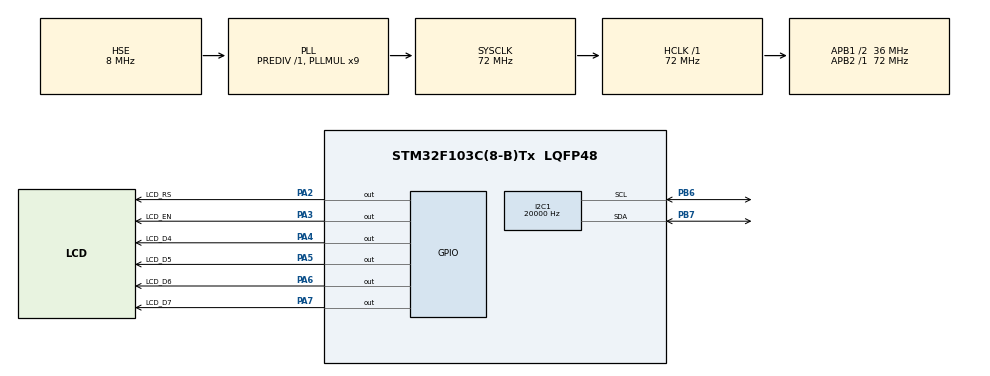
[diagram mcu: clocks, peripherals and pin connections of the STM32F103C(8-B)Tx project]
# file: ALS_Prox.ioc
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I2C1.ClockSpeed=20000
Mcu.Family=STM32F1
Mcu.Name=STM32F103C(8-B)Tx
Mcu.Package=LQFP48
NVIC.PriorityGroup=NVIC_PRIORITYGROUP_4
PA2.GPIO_Label=LCD_RS
PA2.Signal=GPIO_Output
PA3.GPIO_Label=LCD_EN
PA3.Signal=GPIO_Output
PA4.GPIO_Label=LCD_D4
PA4.Signal=GPIO_Output
PA5.GPIO_Label=LCD_D5
PA5.Signal=GPIO_Output
PA6.GPIO_Label=LCD_D6
PA6.Signal=GPIO_Output
PA7.GPIO_Label=LCD_D7
PA7.Signal=GPIO_Output
PB6.Mode=I2C
PB6.Signal=I2C1_SCL
PB7.Mode=I2C
PB7.Signal=I2C1_SDA
PC14-OSC32_IN.Mode=LSE-External-Oscillator
PC14-OSC32_IN.Signal=RCC_OSC32_IN
PC15-OSC32_OUT.Mode=LSE-External-Oscillator
PC15-OSC32_OUT.Signal=RCC_OSC32_OUT
PD0-OSC_IN.Mode=HSE-External-Oscillator
PD0-OSC_IN.Signal=RCC_OSC_IN
PD1-OSC_OUT.Mode=HSE-External-Oscillator
PD1-OSC_OUT.Signal=RCC_OSC_OUT
ProjectManager.HeapSize=0x200
ProjectManager.StackSize=0x400
ProjectManager.TargetToolchain=STM32CubeIDE
RCC.AHBFreq_Value=72000000
RCC.APB1CLKDivider=RCC_HCLK_DIV2
RCC.APB1Freq_Value=36000000
RCC.APB1TimFreq_Value=72000000
RCC.APB2Freq_Value=72000000
RCC.APB2TimFreq_Value=72000000
RCC.HCLKFreq_Value=72000000
RCC.PLLMUL=RCC_PLL_MUL9
RCC.PLLSourceVirtual=RCC_PLLSOURCE_HSE
RCC.SYSCLKFreq_VALUE=72000000
RCC.SYSCLKSource=RCC_SYSCLKSOURCE_PLLCLK
RCC.USBFreq_Value=72000000
VP_SYS_VS_ND.Mode=No_Debug
board=custom

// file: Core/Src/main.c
/* USER CODE BEGIN Header */
/**
  ******************************************************************************
  * @file           : main.c
  * @brief          : Main program body
  ******************************************************************************
  * @attention
  *
  * Copyright (c) 2022 STMicroelectronics.
  * All rights reserved.
  *
  * This software is licensed under terms that can be found in the LICENSE file
  * in the root directory of this software component.
  * If no LICENSE file comes with this software, it is provided AS-IS.
  *
  ******************************************************************************
  */
/* USER CODE END Header */
#include "main.h"
#include "LCD.h"
#include "lcd_print.h"
#include "TMD2771x.h"

I2C_HandleTypeDef hi2c1;

void SystemClock_Config(void);
static void MX_GPIO_Init(void);
static void MX_I2C1_Init(void);

int main(void)
{
  /* USER CODE BEGIN 1 */
  uint16_t val1 = 0x0000;
  uint16_t val2 = 0x0000;
  /* USER CODE END 1 */

  /* MCU Configuration--------------------------------------------------------*/

  /* Reset of all peripherals, Initializes the Flash interface and the Systick. */
  HAL_Init();

  /* Configure the system clock */
  SystemClock_Config();

  /* Initialize all configured peripherals */
  MX_GPIO_Init();
  MX_I2C1_Init();

  /* USER CODE BEGIN 2 */
  LCD_init();
  LCD_clear_home();

  LCD_goto(0, 0);
  LCD_putstr("Device ID:");

  val1 = (uint16_t)TMD2771x_init();

  LCD_goto(0, 1);

  switch(val1)
  {
		case 1:
		{
			LCD_putstr("TMD27711");
			break;
		}

		case 2:
		{
			LCD_putstr("TMD27713");
			break;
		}

		default:
		{
			LCD_putstr("Unknown Device!");
		    break;
		}
  }

  HAL_Delay(1600);

  LCD_clear_home();
  LCD_goto(0, 0);
  LCD_putstr("A.L.S/lux:");
  LCD_goto(0, 1);
  LCD_putstr("Proximity:");
  /* USER CODE END 2 */

  /* Infinite loop */
  while (1)
  {
	  TMD2771x_get_readings(&val1, &val2);

	  print_I(11, 0, val1);
	  print_I(11, 1, val2);

	  HAL_Delay(400);

  }
}

void SystemClock_Config(void)
{
  RCC_OscInitTypeDef RCC_OscInitStruct = {0};
  RCC_ClkInitTypeDef RCC_ClkInitStruct = {0};

  /** Initializes the RCC Oscillators according to the specified parameters
  * in the RCC_OscInitTypeDef structure.
  */
  RCC_OscInitStruct.OscillatorType = RCC_OSCILLATORTYPE_HSE;
  RCC_OscInitStruct.HSEState = RCC_HSE_ON;
  RCC_OscInitStruct.HSEPredivValue = RCC_HSE_PREDIV_DIV1;
  RCC_OscInitStruct.HSIState = RCC_HSI_ON;
  RCC_OscInitStruct.PLL.PLLState = RCC_PLL_ON;
  RCC_OscInitStruct.PLL.PLLSource = RCC_PLLSOURCE_HSE;
  RCC_OscInitStruct.PLL.PLLMUL = RCC_PLL_MUL9;
  if (HAL_RCC_OscConfig(&RCC_OscInitStruct) != HAL_OK)
  {
    Error_Handler();
  }
  /** Initializes the CPU, AHB and APB buses clocks
  */
  RCC_ClkInitStruct.ClockType = RCC_CLOCKTYPE_HCLK|RCC_CLOCKTYPE_SYSCLK
                              |RCC_CLOCKTYPE_PCLK1|RCC_CLOCKTYPE_PCLK2;
  RCC_ClkInitStruct.SYSCLKSource = RCC_SYSCLKSOURCE_PLLCLK;
  RCC_ClkInitStruct.AHBCLKDivider = RCC_SYSCLK_DIV1;
  RCC_ClkInitStruct.APB1CLKDivider = RCC_HCLK_DIV2;
  RCC_ClkInitStruct.APB2CLKDivider = RCC_HCLK_DIV1;

  if (HAL_RCC_ClockConfig(&RCC_ClkInitStruct, FLASH_LATENCY_2) != HAL_OK)
  {
    Error_Handler();
  }
}

static void MX_I2C1_Init(void)
{

  hi2c1.Instance = I2C1;
  hi2c1.Init.ClockSpeed = 20000;
  hi2c1.Init.DutyCycle = I2C_DUTYCYCLE_2;
  hi2c1.Init.OwnAddress1 = 0;
  hi2c1.Init.AddressingMode = I2C_ADDRESSINGMODE_7BIT;
  hi2c1.Init.DualAddressMode = I2C_DUALADDRESS_DISABLE;
  hi2c1.Init.OwnAddress2 = 0;
  hi2c1.Init.GeneralCallMode = I2C_GENERALCALL_DISABLE;
  hi2c1.Init.NoStretchMode = I2C_NOSTRETCH_DISABLE;
  if (HAL_I2C_Init(&hi2c1) != HAL_OK)
  {
    Error_Handler();
  }

}

static void MX_GPIO_Init(void)
{
  GPIO_InitTypeDef GPIO_InitStruct = {0};

  /* GPIO Ports Clock Enable */
  __HAL_RCC_GPIOC_CLK_ENABLE();
  __HAL_RCC_GPIOD_CLK_ENABLE();
  __HAL_RCC_GPIOA_CLK_ENABLE();
  __HAL_RCC_GPIOB_CLK_ENABLE();

  /*Configure GPIO pin Output Level */
  HAL_GPIO_WritePin(GPIOA, LCD_RS_Pin|LCD_EN_Pin|LCD_D4_Pin|LCD_D5_Pin
                          |LCD_D6_Pin|LCD_D7_Pin, GPIO_PIN_RESET);

  /*Configure GPIO pins : LCD_RS_Pin LCD_EN_Pin LCD_D4_Pin LCD_D5_Pin
                           LCD_D6_Pin LCD_D7_Pin */
  GPIO_InitStruct.Pin = LCD_RS_Pin|LCD_EN_Pin|LCD_D4_Pin|LCD_D5_Pin
                          |LCD_D6_Pin|LCD_D7_Pin;
  GPIO_InitStruct.Mode = GPIO_MODE_OUTPUT_PP;
  GPIO_InitStruct.Pull = GPIO_NOPULL;
  GPIO_InitStruct.Speed = GPIO_SPEED_FREQ_LOW;
  HAL_GPIO_Init(GPIOA, &GPIO_InitStruct);

}

void Error_Handler(void)
{
  __disable_irq();
  while (1)
  {
  }
}
